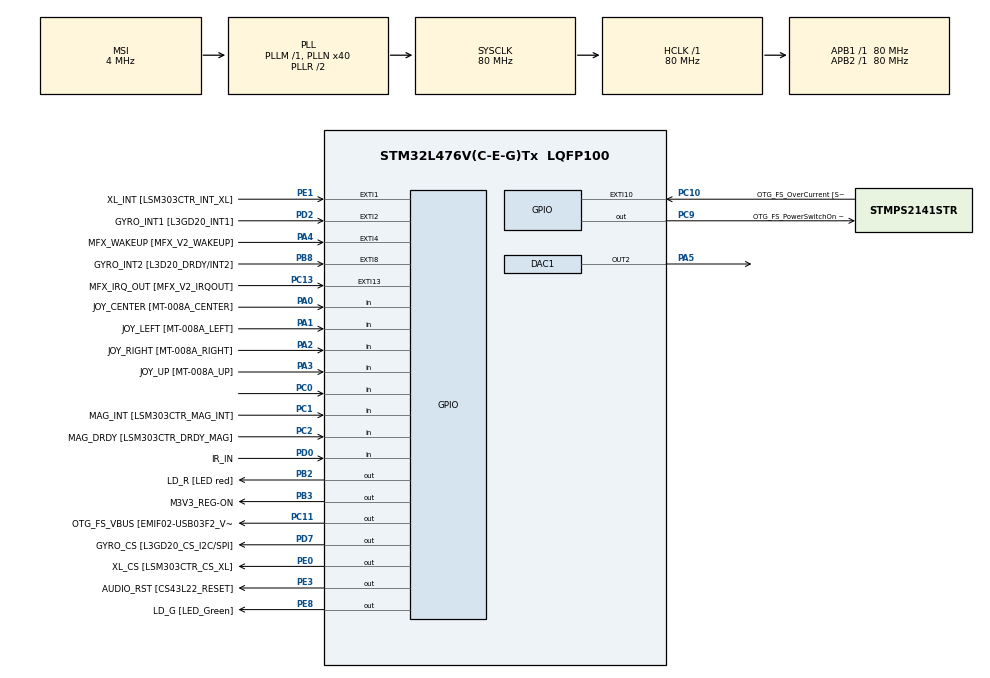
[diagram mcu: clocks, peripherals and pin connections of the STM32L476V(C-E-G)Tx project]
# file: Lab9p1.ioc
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DAC1.DAC_Channel-DAC_OUT2=DAC_CHANNEL_2
Mcu.Family=STM32L4
Mcu.Name=STM32L476V(C-E-G)Tx
Mcu.Package=LQFP100
NVIC.PriorityGroup=NVIC_PRIORITYGROUP_4
NVIC.TIM6_DAC_IRQn=true\:0\:0\:false\:false\:true\:true\:true\:true
PA0.GPIO_Label=JOY_CENTER [MT-008A_CENTER]
PA0.GPIO_Mode=GPIO_MODE_INPUT
PA0.GPIO_PuPd=GPIO_PULLDOWN
PA0.Signal=GPIO_Input
PA1.GPIO_Label=JOY_LEFT [MT-008A_LEFT]
PA1.GPIO_Mode=GPIO_MODE_INPUT
PA1.GPIO_PuPd=GPIO_PULLDOWN
PA1.Signal=GPIO_Input
PA10.GPIO_Label=COM2 [GH08172T_COM2]
PA10.GPIO_Mode=GPIO_MODE_AF_PP
PA10.GPIO_PuPd=GPIO_NOPULL
PA10.GPIO_Speed=GPIO_SPEED_FREQ_LOW
PA10.Signal=LCD_COM2
PA11.GPIO_Label=OTG_FS_DM [EMIF02-USB03F2_D-out]
PA11.GPIO_Mode=GPIO_MODE_AF_PP
PA11.GPIO_PuPd=GPIO_NOPULL
PA11.GPIO_Speed=GPIO_SPEED_FREQ_VERY_HIGH
PA11.Signal=USB_OTG_FS_DM
PA12.GPIO_Label=OTG_FS_DP [EMIF02-USB03F2_D+out]
PA12.GPIO_Mode=GPIO_MODE_AF_PP
PA12.GPIO_PuPd=GPIO_NOPULL
PA12.GPIO_Speed=GPIO_SPEED_FREQ_VERY_HIGH
PA12.Signal=USB_OTG_FS_DP
PA13\ (JTMS-SWDIO).GPIO_Label=SWDIO
PA13\ (JTMS-SWDIO).Mode=Serial_Wire
PA13\ (JTMS-SWDIO).Signal=SYS_JTMS-SWDIO
PA14\ (JTCK-SWCLK).GPIO_Label=SWCLK
PA14\ (JTCK-SWCLK).Mode=Serial_Wire
PA14\ (JTCK-SWCLK).Signal=SYS_JTCK-SWCLK
PA15\ (JTDI).GPIO_Label=SEG10 [GH08172T_SEG10]
PA15\ (JTDI).GPIO_Mode=GPIO_MODE_AF_PP
PA15\ (JTDI).GPIO_PuPd=GPIO_NOPULL
PA15\ (JTDI).GPIO_Speed=GPIO_SPEED_FREQ_LOW
PA15\ (JTDI).Signal=LCD_SEG17
PA2.GPIO_Label=JOY_RIGHT [MT-008A_RIGHT]
PA2.GPIO_Mode=GPIO_MODE_INPUT
PA2.GPIO_PuPd=GPIO_PULLDOWN
PA2.Signal=GPIO_Input
PA3.GPIO_Label=JOY_UP [MT-008A_UP]
PA3.GPIO_Mode=GPIO_MODE_INPUT
PA3.GPIO_PuPd=GPIO_PULLDOWN
PA3.Signal=GPIO_Input
PA4.GPIO_Label=MFX_WAKEUP [MFX_V2_WAKEUP]
PA4.GPIO_ModeDefaultEXTI=GPIO_MODE_EVT_RISING
PA4.GPIO_PuPd=GPIO_NOPULL
PA4.Signal=GPXTI4
PA5.Signal=COMP_DAC12_group
PA6.GPIO_Label=SEG23 [GH08172T_SEG23]
PA6.GPIO_Mode=GPIO_MODE_AF_PP
PA6.GPIO_PuPd=GPIO_NOPULL
PA6.GPIO_Speed=GPIO_SPEED_FREQ_LOW
PA6.Signal=LCD_SEG3
PA7.GPIO_Label=SEG0 [GH08172T_SEG0]
PA7.GPIO_Mode=GPIO_MODE_AF_PP
PA7.GPIO_PuPd=GPIO_NOPULL
PA7.GPIO_Speed=GPIO_SPEED_FREQ_LOW
PA7.Signal=LCD_SEG4
PA8.GPIO_Label=COM0 [GH08172T_COM0]
PA8.GPIO_Mode=GPIO_MODE_AF_PP
PA8.GPIO_PuPd=GPIO_NOPULL
PA8.GPIO_Speed=GPIO_SPEED_FREQ_LOW
PA8.Signal=LCD_COM0
PA9.GPIO_Label=COM1 [GH08172T_COM1]
PA9.GPIO_Mode=GPIO_MODE_AF_PP
PA9.GPIO_PuPd=GPIO_NOPULL
PA9.GPIO_Speed=GPIO_SPEED_FREQ_LOW
PA9.Signal=LCD_COM1
PB0.GPIO_Label=SEG21 [GH08172T_SEG21]
PB0.GPIO_Mode=GPIO_MODE_AF_PP
PB0.GPIO_PuPd=GPIO_NOPULL
PB0.GPIO_Speed=GPIO_SPEED_FREQ_LOW
PB0.Signal=LCD_SEG5
PB1.GPIO_Label=SEG2 [GH08172T_SEG2]
PB1.GPIO_Mode=GPIO_MODE_AF_PP
PB1.GPIO_PuPd=GPIO_NOPULL
PB1.GPIO_Speed=GPIO_SPEED_FREQ_LOW
PB1.Signal=LCD_SEG6
PB10.GPIO_Label=MFX_I2C_SLC [MFX_V2_I2C_SCL]
PB10.GPIO_Mode=GPIO_MODE_AF_OD
PB10.GPIO_PuPdOD=GPIO_PULLUP
PB10.GPIO_Speed=GPIO_SPEED_FREQ_VERY_HIGH
PB10.Signal=I2C2_SCL
PB11.GPIO_Label=MFX_I2C_SDA [MFX_V2_I2C_SDA]
PB11.GPIO_Mode=GPIO_MODE_AF_OD
PB11.GPIO_PuPdOD=GPIO_PULLUP
PB11.GPIO_Speed=GPIO_SPEED_FREQ_VERY_HIGH
PB11.Signal=I2C2_SDA
PB12.GPIO_Label=SEG20 [GH08172T_SEG20]
PB12.GPIO_Mode=GPIO_MODE_AF_PP
PB12.GPIO_PuPd=GPIO_NOPULL
PB12.GPIO_Speed=GPIO_SPEED_FREQ_LOW
PB12.Signal=LCD_SEG12
PB13.GPIO_Label=SEG3 [GH08172T_SEG3]
PB13.GPIO_Mode=GPIO_MODE_AF_PP
PB13.GPIO_PuPd=GPIO_NOPULL
PB13.GPIO_Speed=GPIO_SPEED_FREQ_LOW
PB13.Signal=LCD_SEG13
PB14.GPIO_Label=SEG19 [GH08172T_SEG19]
PB14.GPIO_Mode=GPIO_MODE_AF_PP
PB14.GPIO_PuPd=GPIO_NOPULL
PB14.GPIO_Speed=GPIO_SPEED_FREQ_LOW
PB14.Signal=LCD_SEG14
PB15.GPIO_Label=SEG4 [GH08172T_SEG4]
PB15.GPIO_Mode=GPIO_MODE_AF_PP
PB15.GPIO_PuPd=GPIO_NOPULL
PB15.GPIO_Speed=GPIO_SPEED_FREQ_LOW
PB15.Signal=LCD_SEG15
PB2.GPIO_Label=LD_R [LED red]
PB2.GPIO_ModeDefaultOutputPP=GPIO_MODE_OUTPUT_PP
PB2.GPIO_PuPd=GPIO_PULLUP
PB2.GPIO_Speed=GPIO_SPEED_FREQ_VERY_HIGH
PB2.Signal=GPIO_Output
PB3\ (JTDO-TRACESWO).GPIO_Label=M3V3_REG-ON
PB3\ (JTDO-TRACESWO).GPIO_ModeDefaultOutputPP=GPIO_MODE_OUTPUT_PP
PB3\ (JTDO-TRACESWO).GPIO_PuPd=GPIO_NOPULL
PB3\ (JTDO-TRACESWO).GPIO_Speed=GPIO_SPEED_FREQ_LOW
PB3\ (JTDO-TRACESWO).Signal=GPIO_Output
PB4\ (NJTRST).GPIO_Label=SEG11 [GH08172T_SEG11]
PB4\ (NJTRST).GPIO_Mode=GPIO_MODE_AF_PP
PB4\ (NJTRST).GPIO_PuPd=GPIO_NOPULL
PB4\ (NJTRST).GPIO_Speed=GPIO_SPEED_FREQ_LOW
PB4\ (NJTRST).Signal=LCD_SEG8
PB5.GPIO_Label=SEG12 [GH08172T_SEG12]
PB5.GPIO_Mode=GPIO_MODE_AF_PP
PB5.GPIO_PuPd=GPIO_NOPULL
PB5.GPIO_Speed=GPIO_SPEED_FREQ_LOW
PB5.Signal=LCD_SEG9
PB6.GPIO_FM6=__NULL
PB6.GPIO_Label=I2C1_SCL [SSM-104-L-DH_SCL]
PB6.GPIO_Mode=GPIO_MODE_AF_OD
PB6.GPIO_PuPdOD=GPIO_PULLUP
PB6.GPIO_Speed=GPIO_SPEED_FREQ_VERY_HIGH
PB6.Signal=I2C1_SCL
PB7.GPIO_FM7=__NULL
PB7.GPIO_Label=I2C1_SDA [SSM-104-L-DH_SDA]
PB7.GPIO_Mode=GPIO_MODE_AF_OD
PB7.GPIO_PuPdOD=GPIO_PULLUP
PB7.GPIO_Speed=GPIO_SPEED_FREQ_VERY_HIGH
PB7.Signal=I2C1_SDA
PB8.GPIO_Label=GYRO_INT2 [L3D20_DRDY/INT2]
PB8.GPIO_ModeDefaultEXTI=GPIO_MODE_EVT_RISING
PB8.GPIO_PuPd=GPIO_NOPULL
PB8.Signal=GPXTI8
PB9.GPIO_FM9=__NULL
PB9.GPIO_Label=COM3 [GH08172T_COM3]
PB9.GPIO_Mode=GPIO_MODE_AF_PP
PB9.GPIO_PuPd=GPIO_NOPULL
PB9.GPIO_Speed=GPIO_SPEED_FREQ_LOW
PB9.Signal=LCD_COM3
PC0.Signal=GPIO_Input
PC1.GPIO_Label=MAG_INT [LSM303CTR_MAG_INT]
PC1.GPIO_Mode=GPIO_MODE_INPUT
PC1.GPIO_PuPd=GPIO_NOPULL
PC1.Signal=GPIO_Input
PC10.GPIO_Label=OTG_FS_OverCurrent [STMPS2141STR_FAULT]
PC10.GPIO_ModeDefaultEXTI=GPIO_MODE_EVT_RISING
PC10.GPIO_PuPd=GPIO_NOPULL
PC10.Signal=GPXTI10
PC11.GPIO_Label=OTG_FS_VBUS [EMIF02-USB03F2_Vbus]
PC11.GPIO_ModeDefaultOutputPP=GPIO_MODE_OUTPUT_PP
PC11.GPIO_PuPd=GPIO_NOPULL
PC11.GPIO_Speed=GPIO_SPEED_FREQ_LOW
PC11.Signal=GPIO_Output
PC13.GPIO_Label=MFX_IRQ_OUT [MFX_V2_IRQOUT]
PC13.GPIO_ModeDefaultEXTI=GPIO_MODE_EVT_RISING
PC13.GPIO_PuPd=GPIO_NOPULL
PC13.Signal=GPXTI13
PC14-OSC32_IN\ (PC14).Mode=LSE-External-Oscillator
PC14-OSC32_IN\ (PC14).Signal=RCC_OSC32_IN
PC15-OSC32_OUT\ (PC15).Mode=LSE-External-Oscillator
PC15-OSC32_OUT\ (PC15).Signal=RCC_OSC32_OUT
PC2.GPIO_Label=MAG_DRDY [LSM303CTR_DRDY_MAG]
PC2.GPIO_Mode=GPIO_MODE_INPUT
PC2.GPIO_PuPd=GPIO_NOPULL
PC2.Signal=GPIO_Input
PC3.GPIO_Label=VLCD
PC3.GPIO_Mode=GPIO_MODE_AF_PP
PC3.GPIO_PuPd=GPIO_NOPULL
PC3.GPIO_Speed=GPIO_SPEED_FREQ_LOW
PC3.Signal=LCD_VLCD
PC4.GPIO_Label=SEG22 [GH08172T_SEG22]
PC4.GPIO_Mode=GPIO_MODE_AF_PP
PC4.GPIO_PuPd=GPIO_NOPULL
PC4.GPIO_Speed=GPIO_SPEED_FREQ_LOW
PC4.Signal=LCD_SEG22
PC5.GPIO_Label=SEG1 [GH08172T_SEG1]
PC5.GPIO_Mode=GPIO_MODE_AF_PP
PC5.GPIO_PuPd=GPIO_NOPULL
PC5.GPIO_Speed=GPIO_SPEED_FREQ_LOW
PC5.Signal=LCD_SEG23
PC6.GPIO_Label=SEG14 [GH08172T_SEG14]
PC6.GPIO_Mode=GPIO_MODE_AF_PP
PC6.GPIO_PuPd=GPIO_NOPULL
PC6.GPIO_Speed=GPIO_SPEED_FREQ_LOW
PC6.Signal=LCD_SEG24
PC7.GPIO_Label=SEG9 [GH08172T_SEG9]
PC7.GPIO_Mode=GPIO_MODE_AF_PP
PC7.GPIO_PuPd=GPIO_NOPULL
PC7.GPIO_Speed=GPIO_SPEED_FREQ_LOW
PC7.Signal=LCD_SEG25
PC8.GPIO_Label=SEG13 [GH08172T_SEG13]
PC8.GPIO_Mode=GPIO_MODE_AF_PP
PC8.GPIO_PuPd=GPIO_NOPULL
PC8.GPIO_Speed=GPIO_SPEED_FREQ_LOW
PC8.Signal=LCD_SEG26
PC9.GPIO_Label=OTG_FS_PowerSwitchOn [STMPS2141STR_EN]
PC9.GPIO_ModeDefaultOutputPP=GPIO_MODE_OUTPUT_PP
PC9.GPIO_PuPd=GPIO_NOPULL
PC9.GPIO_Speed=GPIO_SPEED_FREQ_LOW
PC9.PinState=GPIO_PIN_SET
PC9.Signal=GPIO_Output
PD0.GPIO_Label=IR_IN
PD0.Signal=GPIO_Input
PD1.GPIO_Label=MEMS_SCK [L3GD20_SCL/SPC]
PD1.GPIO_Mode=GPIO_MODE_AF_PP
PD1.GPIO_PuPd=GPIO_NOPULL
PD1.GPIO_Speed=GPIO_SPEED_FREQ_VERY_HIGH
PD1.Signal=SPI2_SCK
PD10.GPIO_Label=SEG17 [GH08172T_SEG17]
PD10.GPIO_Mode=GPIO_MODE_AF_PP
PD10.GPIO_PuPd=GPIO_NOPULL
PD10.GPIO_Speed=GPIO_SPEED_FREQ_LOW
PD10.Signal=LCD_SEG30
PD11.GPIO_Label=SEG6 [GH08172T_SEG6]
PD11.GPIO_Mode=GPIO_MODE_AF_PP
PD11.GPIO_PuPd=GPIO_NOPULL
PD11.GPIO_Speed=GPIO_SPEED_FREQ_LOW
PD11.Signal=LCD_SEG31
PD12.GPIO_Label=SEG16 [GH08172T_SEG16]
PD12.GPIO_Mode=GPIO_MODE_AF_PP
PD12.GPIO_PuPd=GPIO_NOPULL
PD12.GPIO_Speed=GPIO_SPEED_FREQ_LOW
PD12.Signal=LCD_SEG32
PD13.GPIO_Label=SEG7 [GH08172T_SEG7]
PD13.GPIO_Mode=GPIO_MODE_AF_PP
PD13.GPIO_PuPd=GPIO_NOPULL
PD13.GPIO_Speed=GPIO_SPEED_FREQ_LOW
PD13.Signal=LCD_SEG33
PD14.GPIO_Label=SEG15 [GH08172T_SEG15]
PD14.GPIO_Mode=GPIO_MODE_AF_PP
PD14.GPIO_PuPd=GPIO_NOPULL
PD14.GPIO_Speed=GPIO_SPEED_FREQ_LOW
PD14.Signal=LCD_SEG34
PD15.GPIO_Label=SEG8 [GH08172T_SEG8]
PD15.GPIO_Mode=GPIO_MODE_AF_PP
PD15.GPIO_PuPd=GPIO_NOPULL
PD15.GPIO_Speed=GPIO_SPEED_FREQ_LOW
PD15.Signal=LCD_SEG35
PD2.GPIO_Label=GYRO_INT1 [L3GD20_INT1]
PD2.GPIO_ModeDefaultEXTI=GPIO_MODE_EVT_RISING
PD2.GPIO_PuPd=GPIO_NOPULL
PD2.Signal=GPXTI2
PD3.GPIO_Label=MEMS_MISO [L3GD20_SA0/SDO]
PD3.GPIO_Mode=GPIO_MODE_AF_PP
PD3.GPIO_PuPd=GPIO_NOPULL
PD3.GPIO_Speed=GPIO_SPEED_FREQ_VERY_HIGH
PD3.Signal=SPI2_MISO
PD4.GPIO_Label=MEMS_MOSI [L3GD20_SDA/SDI/SDO]
PD4.GPIO_Mode=GPIO_MODE_AF_PP
PD4.GPIO_PuPd=GPIO_NOPULL
PD4.GPIO_Speed=GPIO_SPEED_FREQ_VERY_HIGH
PD4.Signal=SPI2_MOSI
PD5.GPIO_Label=USART_TX
PD5.GPIO_Mode=GPIO_MODE_AF_PP
PD5.GPIO_PuPd=GPIO_PULLUP
PD5.GPIO_Speed=GPIO_SPEED_FREQ_VERY_HIGH
PD5.Signal=USART2_TX
PD6.GPIO_Label=USART_RX
PD6.GPIO_Mode=GPIO_MODE_AF_PP
PD6.GPIO_PuPd=GPIO_PULLUP
PD6.GPIO_Speed=GPIO_SPEED_FREQ_VERY_HIGH
PD6.Signal=USART2_RX
PD7.GPIO_Label=GYRO_CS [L3GD20_CS_I2C/SPI]
PD7.GPIO_ModeDefaultOutputPP=GPIO_MODE_OUTPUT_PP
PD7.GPIO_PuPd=GPIO_NOPULL
PD7.GPIO_Speed=GPIO_SPEED_FREQ_VERY_HIGH
PD7.Signal=GPIO_Output
PD8.GPIO_Label=SEG18 [GH08172T_SEG18]
PD8.GPIO_Mode=GPIO_MODE_AF_PP
PD8.GPIO_PuPd=GPIO_NOPULL
PD8.GPIO_Speed=GPIO_SPEED_FREQ_LOW
PD8.Signal=LCD_SEG28
PD9.GPIO_Label=SEG5 [GH08172T_SEG5]
PD9.GPIO_Mode=GPIO_MODE_AF_PP
PD9.GPIO_PuPd=GPIO_NOPULL
PD9.GPIO_Speed=GPIO_SPEED_FREQ_LOW
PD9.Signal=LCD_SEG29
PE0.GPIO_Label=XL_CS [LSM303CTR_CS_XL]
PE0.GPIO_ModeDefaultOutputPP=GPIO_MODE_OUTPUT_PP
PE0.GPIO_PuPd=GPIO_NOPULL
PE0.GPIO_Speed=GPIO_SPEED_FREQ_LOW
PE0.Signal=GPIO_Output
PE1.GPIO_Label=XL_INT [LSM303CTR_INT_XL]
PE1.GPIO_ModeDefaultEXTI=GPIO_MODE_EVT_RISING
PE1.GPIO_PuPd=GPIO_NOPULL
PE1.Signal=GPXTI1
PE10.GPIO_Label=QSPI_CLK [N25Q128A13EF840E_C]
PE10.GPIO_Mode=GPIO_MODE_AF_PP
PE10.GPIO_PuPd=GPIO_NOPULL
PE10.GPIO_Speed=GPIO_SPEED_FREQ_VERY_HIGH
PE10.Signal=QUADSPI_CLK
PE11.GPIO_Label=QSPI_CS [N25Q128A13EF840E_S\#]
PE11.GPIO_Mode=GPIO_MODE_AF_PP
PE11.GPIO_PuPd=GPIO_NOPULL
PE11.GPIO_Speed=GPIO_SPEED_FREQ_VERY_HIGH
PE11.Signal=QUADSPI_NCS
PE12.GPIO_Label=QSPI_D0 [N25Q128A13EF840E_DQ0]
PE12.GPIO_Mode=GPIO_MODE_AF_PP
PE12.GPIO_PuPd=GPIO_NOPULL
PE12.GPIO_Speed=GPIO_SPEED_FREQ_VERY_HIGH
PE12.Signal=QUADSPI_BK1_IO0
PE13.GPIO_Label=QSPI_D1 [N25Q128A13EF840E_DQ1]
PE13.GPIO_Mode=GPIO_MODE_AF_PP
PE13.GPIO_PuPd=GPIO_NOPULL
PE13.GPIO_Speed=GPIO_SPEED_FREQ_VERY_HIGH
PE13.Signal=QUADSPI_BK1_IO1
PE14.GPIO_Label=QSPI_D2 [N25Q128A13EF840E_DQ2]
PE14.GPIO_Mode=GPIO_MODE_AF_PP
PE14.GPIO_PuPd=GPIO_NOPULL
PE14.GPIO_Speed=GPIO_SPEED_FREQ_VERY_HIGH
PE14.Signal=QUADSPI_BK1_IO2
PE15.GPIO_Label=QSPI_D3 [N25Q128A13EF840E_DQ3]
PE15.GPIO_Mode=GPIO_MODE_AF_PP
PE15.GPIO_PuPd=GPIO_NOPULL
PE15.GPIO_Speed=GPIO_SPEED_FREQ_VERY_HIGH
PE15.Signal=QUADSPI_BK1_IO3
PE2.GPIO_Label=SAI1_MCK [CS43L22_MCLK]
PE2.GPIO_Mode=GPIO_MODE_AF_PP
PE2.GPIO_PuPd=GPIO_NOPULL
PE2.GPIO_Speed=GPIO_SPEED_FREQ_VERY_HIGH
PE2.Signal=SAI1_MCLK_A
PE3.GPIO_Label=AUDIO_RST [CS43L22_RESET]
PE3.GPIO_ModeDefaultOutputPP=GPIO_MODE_OUTPUT_PP
PE3.GPIO_PuPd=GPIO_NOPULL
PE3.GPIO_Speed=GPIO_SPEED_FREQ_HIGH
PE3.Signal=GPIO_Output
PE4.GPIO_Label=SAI1_FS [CS43L22_LRCK]
PE4.GPIO_Mode=GPIO_MODE_AF_PP
PE4.GPIO_PuPd=GPIO_NOPULL
PE4.GPIO_Speed=GPIO_SPEED_FREQ_VERY_HIGH
PE4.Signal=SAI1_FS_A
PE5.GPIO_Label=SAI1_SCK [CS43L22_SCLK]
PE5.GPIO_Mode=GPIO_MODE_AF_PP
PE5.GPIO_PuPd=GPIO_NOPULL
PE5.GPIO_Speed=GPIO_SPEED_FREQ_VERY_HIGH
PE5.Signal=SAI1_SCK_A
PE6.GPIO_Label=SAI1_SD [CS43L22_SDIN]
PE6.GPIO_Mode=GPIO_MODE_AF_PP
PE6.GPIO_PuPd=GPIO_NOPULL
PE6.GPIO_Speed=GPIO_SPEED_FREQ_VERY_HIGH
PE6.Signal=SAI1_SD_A
PE7.GPIO_Label=AUDIO_DIN [MP34DT01_DOUT]
PE7.GPIO_Mode=GPIO_MODE_AF_PP
PE7.GPIO_PuPd=GPIO_NOPULL
PE7.GPIO_Speed=GPIO_SPEED_FREQ_VERY_HIGH
PE7.Signal=SAI1_SD_B
PE8.GPIO_Label=LD_G [LED_Green]
PE8.GPIO_ModeDefaultOutputPP=GPIO_MODE_OUTPUT_PP
PE8.GPIO_PuPd=GPIO_PULLUP
PE8.GPIO_Speed=GPIO_SPEED_FREQ_VERY_HIGH
PE8.Signal=GPIO_Output
PE9.GPIO_Label=AUDIO_CLK [MP34DT01_CLK]
PE9.GPIO_Mode=GPIO_MODE_AF_PP
PE9.GPIO_PuPd=GPIO_NOPULL
PE9.GPIO_Speed=GPIO_SPEED_FREQ_LOW
PE9.Signal=SAI1_FS_B
PH0-OSC_IN\ (PH0).Mode=HSE-External-Oscillator
PH0-OSC_IN\ (PH0).Signal=RCC_OSC_IN
PH1-OSC_OUT\ (PH1).Mode=HSE-External-Oscillator
PH1-OSC_OUT\ (PH1).Signal=RCC_OSC_OUT
ProjectManager.HeapSize=0x400
ProjectManager.StackSize=0x800
ProjectManager.TargetToolchain=MDK-ARM V5.27
RCC.ADCFreq_Value=48000000
RCC.AHBFreq_Value=80000000
RCC.APB1Freq_Value=80000000
RCC.APB1TimFreq_Value=80000000
RCC.APB2Freq_Value=80000000
RCC.APB2TimFreq_Value=80000000
RCC.CortexFreq_Value=80000000
RCC.HCLKFreq_Value=80000000
RCC.HSE_VALUE=8000000
RCC.HSI_VALUE=16000000
RCC.MSI_VALUE=4000000
RCC.PLLN=40
RCC.PLLSAI1N=24
RCC.PREFETCH_ENABLE=1
RCC.SYSCLKFreq_VALUE=80000000
RCC.SYSCLKSource=RCC_SYSCLKSOURCE_PLLCLK
RCC.USBFreq_Value=48000000
RCC.VCOOutputFreq_Value=160000000
SH.COMP_DAC12_group.0=DAC1_OUT2,DAC_OUT2
TIM6.Period=999
TIM6.Prescaler=4
TIM6.TIM_MasterOutputTrigger=TIM_TRGO_UPDATE
VP_TIM6_VS_ClockSourceINT.Mode=Enable_Timer
board=STM32L476G-DISCO

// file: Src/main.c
/* USER CODE BEGIN Header */
/**
  ******************************************************************************
  * @file           : main.c
  * @brief          : Main program body
  ******************************************************************************
  * @attention
  *
  * <h2><center>&copy; Copyright (c) 2020 STMicroelectronics.
  * All rights reserved.</center></h2>
  *
  * This software component is licensed by ST under Ultimate Liberty license
  * SLA0044, the "License"; You may not use this file except in compliance with
  * the License. You may obtain a copy of the License at:
  *                             www.st.com/SLA0044
  *
  ******************************************************************************
  */
/* USER CODE END Header */
#include "main.h"

/* USER CODE BEGIN Includes */
#include <stdbool.h>
#include "song16.h"
#include <math.h>

/* USER CODE END Includes */

DAC_HandleTypeDef hdac1;

TIM_HandleTypeDef htim6;

/* USER CODE BEGIN PV */

int16_t audiobuffer[ABUF_SIZE]; 	/* File read buffer for audio */

volatile uint8_t volume = DFLT_VOLUME;		// Volume range is 0 to 255

;

/* USER CODE END PV */

void SystemClock_Config(void);
static void MX_GPIO_Init(void);
static void MX_DAC1_Init(void);
static void MX_TIM6_Init(void);

/* USER CODE BEGIN 0 */

void write_DAC1Ch2(int16_t dacval, uint8_t volume) {
	int tempval;
	tempval = (((int) dacval * (int) volume) + 8388608) >> 12;
	hdac1.Instance->DHR12R2 = tempval;
}

/* Generate 400Hz Sine Wave as 16-bit values in audiobuffer[0] at 16KHz sample rate */
/* 16,000 samples is 1 second so 40 samples is 1 sine wave */
void fillBufferSine(int16_t * buffer) {
	double phase;
	for (int i=0; i<ABUF_SIZE; i++) {
    phase = (double)(i % 40)/40.0 * 2.0 * 3.1415926;
		buffer[i] = (int16_t)(sin(phase) * 32767);
	}
}

/* USER CODE END 0 */

int main(void)
{

  /* MCU Configuration--------------------------------------------------------*/

  /* Reset of all peripherals, Initializes the Flash interface and the Systick. */
  HAL_Init();

  /* Configure the system clock */
  SystemClock_Config();

  /* Initialize all configured peripherals */
  MX_GPIO_Init();
  MX_DAC1_Init();
  MX_TIM6_Init();
  /* USER CODE BEGIN 2 */

	/* initialize data structures */

	fillBufferSine(audiobuffer);

	/* start devices */

  HAL_DAC_Start(&hdac1, DAC1_CHANNEL_2);
	HAL_TIM_Base_Start_IT(&htim6);			/* Start Timer 6 at 16KHz to run DAC */

  /* USER CODE END 2 */

  /* Infinite loop */
  while (1)
  {

		}
}

void SystemClock_Config(void)
{
  RCC_OscInitTypeDef RCC_OscInitStruct = {0};
  RCC_ClkInitTypeDef RCC_ClkInitStruct = {0};

  /** Configure the main internal regulator output voltage
  */
  if (HAL_PWREx_ControlVoltageScaling(PWR_REGULATOR_VOLTAGE_SCALE1) != HAL_OK)
  {
    Error_Handler();
  }

  /** Configure LSE Drive Capability
  */
  HAL_PWR_EnableBkUpAccess();
  __HAL_RCC_LSEDRIVE_CONFIG(RCC_LSEDRIVE_LOW);

  /** Initializes the RCC Oscillators according to the specified parameters
  * in the RCC_OscInitTypeDef structure.
  */
  RCC_OscInitStruct.OscillatorType = RCC_OSCILLATORTYPE_LSE|RCC_OSCILLATORTYPE_MSI;
  RCC_OscInitStruct.LSEState = RCC_LSE_ON;
  RCC_OscInitStruct.MSIState = RCC_MSI_ON;
  RCC_OscInitStruct.MSICalibrationValue = 0;
  RCC_OscInitStruct.MSIClockRange = RCC_MSIRANGE_6;
  RCC_OscInitStruct.PLL.PLLState = RCC_PLL_ON;
  RCC_OscInitStruct.PLL.PLLSource = RCC_PLLSOURCE_MSI;
  RCC_OscInitStruct.PLL.PLLM = 1;
  RCC_OscInitStruct.PLL.PLLN = 40;
  RCC_OscInitStruct.PLL.PLLP = RCC_PLLP_DIV7;
  RCC_OscInitStruct.PLL.PLLQ = RCC_PLLQ_DIV2;
  RCC_OscInitStruct.PLL.PLLR = RCC_PLLR_DIV2;
  if (HAL_RCC_OscConfig(&RCC_OscInitStruct) != HAL_OK)
  {
    Error_Handler();
  }

  /** Initializes the CPU, AHB and APB buses clocks
  */
  RCC_ClkInitStruct.ClockType = RCC_CLOCKTYPE_HCLK|RCC_CLOCKTYPE_SYSCLK
                              |RCC_CLOCKTYPE_PCLK1|RCC_CLOCKTYPE_PCLK2;
  RCC_ClkInitStruct.SYSCLKSource = RCC_SYSCLKSOURCE_PLLCLK;
  RCC_ClkInitStruct.AHBCLKDivider = RCC_SYSCLK_DIV1;
  RCC_ClkInitStruct.APB1CLKDivider = RCC_HCLK_DIV1;
  RCC_ClkInitStruct.APB2CLKDivider = RCC_HCLK_DIV1;

  if (HAL_RCC_ClockConfig(&RCC_ClkInitStruct, FLASH_LATENCY_4) != HAL_OK)
  {
    Error_Handler();
  }

  /** Enable MSI Auto calibration
  */
  HAL_RCCEx_EnableMSIPLLMode();
}

static void MX_DAC1_Init(void)
{

  DAC_ChannelConfTypeDef sConfig = {0};

  /** DAC Initialization
  */
  hdac1.Instance = DAC1;
  if (HAL_DAC_Init(&hdac1) != HAL_OK)
  {
    Error_Handler();
  }

  /** DAC channel OUT2 config
  */
  sConfig.DAC_SampleAndHold = DAC_SAMPLEANDHOLD_DISABLE;
  sConfig.DAC_Trigger = DAC_TRIGGER_NONE;
  sConfig.DAC_OutputBuffer = DAC_OUTPUTBUFFER_ENABLE;
  sConfig.DAC_ConnectOnChipPeripheral = DAC_CHIPCONNECT_DISABLE;
  sConfig.DAC_UserTrimming = DAC_TRIMMING_FACTORY;
  if (HAL_DAC_ConfigChannel(&hdac1, &sConfig, DAC_CHANNEL_2) != HAL_OK)
  {
    Error_Handler();
  }

}

static void MX_TIM6_Init(void)
{

  TIM_MasterConfigTypeDef sMasterConfig = {0};

  htim6.Instance = TIM6;
  htim6.Init.Prescaler = 4;
  htim6.Init.CounterMode = TIM_COUNTERMODE_UP;
  htim6.Init.Period = 999;
  htim6.Init.AutoReloadPreload = TIM_AUTORELOAD_PRELOAD_DISABLE;
  if (HAL_TIM_Base_Init(&htim6) != HAL_OK)
  {
    Error_Handler();
  }
  sMasterConfig.MasterOutputTrigger = TIM_TRGO_UPDATE;
  sMasterConfig.MasterSlaveMode = TIM_MASTERSLAVEMODE_DISABLE;
  if (HAL_TIMEx_MasterConfigSynchronization(&htim6, &sMasterConfig) != HAL_OK)
  {
    Error_Handler();
  }

}

static void MX_GPIO_Init(void)
{
  GPIO_InitTypeDef GPIO_InitStruct = {0};

  /* GPIO Ports Clock Enable */
  __HAL_RCC_GPIOE_CLK_ENABLE();
  __HAL_RCC_GPIOC_CLK_ENABLE();
  __HAL_RCC_GPIOH_CLK_ENABLE();
  __HAL_RCC_GPIOA_CLK_ENABLE();
  __HAL_RCC_GPIOB_CLK_ENABLE();
  __HAL_RCC_GPIOD_CLK_ENABLE();

  /*Configure GPIO pin Output Level */
  HAL_GPIO_WritePin(GPIOE, AUDIO_RST_Pin|LD_G_Pin|XL_CS_Pin, GPIO_PIN_RESET);

  /*Configure GPIO pin Output Level */
  HAL_GPIO_WritePin(GPIOB, LD_R_Pin|M3V3_REG_ON_Pin, GPIO_PIN_RESET);

  /*Configure GPIO pin Output Level */
  HAL_GPIO_WritePin(OTG_FS_PowerSwitchOn_GPIO_Port, OTG_FS_PowerSwitchOn_Pin, GPIO_PIN_SET);

  /*Configure GPIO pin Output Level */
  HAL_GPIO_WritePin(OTG_FS_VBUS_GPIO_Port, OTG_FS_VBUS_Pin, GPIO_PIN_RESET);

  /*Configure GPIO pin Output Level */
  HAL_GPIO_WritePin(GYRO_CS_GPIO_Port, GYRO_CS_Pin, GPIO_PIN_RESET);

  /*Configure GPIO pins : SAI1_MCK_Pin SAI1_FS_Pin SAI1_SCK_Pin SAI1_SD_Pin
                           AUDIO_DIN_Pin */
  GPIO_InitStruct.Pin = SAI1_MCK_Pin|SAI1_FS_Pin|SAI1_SCK_Pin|SAI1_SD_Pin
                          |AUDIO_DIN_Pin;
  GPIO_InitStruct.Mode = GPIO_MODE_AF_PP;
  GPIO_InitStruct.Pull = GPIO_NOPULL;
  GPIO_InitStruct.Speed = GPIO_SPEED_FREQ_VERY_HIGH;
  GPIO_InitStruct.Alternate = GPIO_AF13_SAI1;
  HAL_GPIO_Init(GPIOE, &GPIO_InitStruct);

  /*Configure GPIO pin : AUDIO_RST_Pin */
  GPIO_InitStruct.Pin = AUDIO_RST_Pin;
  GPIO_InitStruct.Mode = GPIO_MODE_OUTPUT_PP;
  GPIO_InitStruct.Pull = GPIO_NOPULL;
  GPIO_InitStruct.Speed = GPIO_SPEED_FREQ_HIGH;
  HAL_GPIO_Init(AUDIO_RST_GPIO_Port, &GPIO_InitStruct);

  /*Configure GPIO pins : MFX_IRQ_OUT_Pin OTG_FS_OverCurrent_Pin */
  GPIO_InitStruct.Pin = MFX_IRQ_OUT_Pin|OTG_FS_OverCurrent_Pin;
  GPIO_InitStruct.Mode = GPIO_MODE_EVT_RISING;
  GPIO_InitStruct.Pull = GPIO_NOPULL;
  HAL_GPIO_Init(GPIOC, &GPIO_InitStruct);

  /*Configure GPIO pins : PC0 MAG_INT_Pin MAG_DRDY_Pin */
  GPIO_InitStruct.Pin = GPIO_PIN_0|MAG_INT_Pin|MAG_DRDY_Pin;
  GPIO_InitStruct.Mode = GPIO_MODE_INPUT;
  GPIO_InitStruct.Pull = GPIO_NOPULL;
  HAL_GPIO_Init(GPIOC, &GPIO_InitStruct);

  /*Configure GPIO pins : VLCD_Pin SEG22_Pin SEG1_Pin SEG14_Pin
                           SEG9_Pin SEG13_Pin */
  GPIO_InitStruct.Pin = VLCD_Pin|SEG22_Pin|SEG1_Pin|SEG14_Pin
                          |SEG9_Pin|SEG13_Pin;
  GPIO_InitStruct.Mode = GPIO_MODE_AF_PP;
  GPIO_InitStruct.Pull = GPIO_NOPULL;
  GPIO_InitStruct.Speed = GPIO_SPEED_FREQ_LOW;
  GPIO_InitStruct.Alternate = GPIO_AF11_LCD;
  HAL_GPIO_Init(GPIOC, &GPIO_InitStruct);

  /*Configure GPIO pins : JOY_CENTER_Pin JOY_LEFT_Pin JOY_RIGHT_Pin JOY_UP_Pin */
  GPIO_InitStruct.Pin = JOY_CENTER_Pin|JOY_LEFT_Pin|JOY_RIGHT_Pin|JOY_UP_Pin;
  GPIO_InitStruct.Mode = GPIO_MODE_INPUT;
  GPIO_InitStruct.Pull = GPIO_PULLDOWN;
  HAL_GPIO_Init(GPIOA, &GPIO_InitStruct);

  /*Configure GPIO pin : MFX_WAKEUP_Pin */
  GPIO_InitStruct.Pin = MFX_WAKEUP_Pin;
  GPIO_InitStruct.Mode = GPIO_MODE_EVT_RISING;
  GPIO_InitStruct.Pull = GPIO_NOPULL;
  HAL_GPIO_Init(MFX_WAKEUP_GPIO_Port, &GPIO_InitStruct);

  /*Configure GPIO pins : SEG23_Pin SEG0_Pin COM0_Pin COM1_Pin
                           COM2_Pin SEG10_Pin */
  GPIO_InitStruct.Pin = SEG23_Pin|SEG0_Pin|COM0_Pin|COM1_Pin
                          |COM2_Pin|SEG10_Pin;
  GPIO_InitStruct.Mode = GPIO_MODE_AF_PP;
  GPIO_InitStruct.Pull = GPIO_NOPULL;
  GPIO_InitStruct.Speed = GPIO_SPEED_FREQ_LOW;
  GPIO_InitStruct.Alternate = GPIO_AF11_LCD;
  HAL_GPIO_Init(GPIOA, &GPIO_InitStruct);

  /*Configure GPIO pins : SEG21_Pin SEG2_Pin SEG20_Pin SEG3_Pin
                           SEG19_Pin SEG4_Pin SEG11_Pin SEG12_Pin
                           COM3_Pin */
  GPIO_InitStruct.Pin = SEG21_Pin|SEG2_Pin|SEG20_Pin|SEG3_Pin
                          |SEG19_Pin|SEG4_Pin|SEG11_Pin|SEG12_Pin
                          |COM3_Pin;
  GPIO_InitStruct.Mode = GPIO_MODE_AF_PP;
  GPIO_InitStruct.Pull = GPIO_NOPULL;
  GPIO_InitStruct.Speed = GPIO_SPEED_FREQ_LOW;
  GPIO_InitStruct.Alternate = GPIO_AF11_LCD;
  HAL_GPIO_Init(GPIOB, &GPIO_InitStruct);

  /*Configure GPIO pin : LD_R_Pin */
  GPIO_InitStruct.Pin = LD_R_Pin;
  GPIO_InitStruct.Mode = GPIO_MODE_OUTPUT_PP;
  GPIO_InitStruct.Pull = GPIO_PULLUP;
  GPIO_InitStruct.Speed = GPIO_SPEED_FREQ_VERY_HIGH;
  HAL_GPIO_Init(LD_R_GPIO_Port, &GPIO_InitStruct);

  /*Configure GPIO pin : LD_G_Pin */
  GPIO_InitStruct.Pin = LD_G_Pin;
  GPIO_InitStruct.Mode = GPIO_MODE_OUTPUT_PP;
  GPIO_InitStruct.Pull = GPIO_PULLUP;
  GPIO_InitStruct.Speed = GPIO_SPEED_FREQ_VERY_HIGH;
  HAL_GPIO_Init(LD_G_GPIO_Port, &GPIO_InitStruct);

  /*Configure GPIO pin : AUDIO_CLK_Pin */
  GPIO_InitStruct.Pin = AUDIO_CLK_Pin;
  GPIO_InitStruct.Mode = GPIO_MODE_AF_PP;
  GPIO_InitStruct.Pull = GPIO_NOPULL;
  GPIO_InitStruct.Speed = GPIO_SPEED_FREQ_LOW;
  GPIO_InitStruct.Alternate = GPIO_AF13_SAI1;
  HAL_GPIO_Init(AUDIO_CLK_GPIO_Port, &GPIO_InitStruct);

  /*Configure GPIO pins : QSPI_CLK_Pin QSPI_CS_Pin QSPI_D0_Pin QSPI_D1_Pin
                           QSPI_D2_Pin QSPI_D3_Pin */
  GPIO_InitStruct.Pin = QSPI_CLK_Pin|QSPI_CS_Pin|QSPI_D0_Pin|QSPI_D1_Pin
                          |QSPI_D2_Pin|QSPI_D3_Pin;
  GPIO_InitStruct.Mode = GPIO_MODE_AF_PP;
  GPIO_InitStruct.Pull = GPIO_NOPULL;
  GPIO_InitStruct.Speed = GPIO_SPEED_FREQ_VERY_HIGH;
  GPIO_InitStruct.Alternate = GPIO_AF10_QUADSPI;
  HAL_GPIO_Init(GPIOE, &GPIO_InitStruct);

  /*Configure GPIO pins : MFX_I2C_SLC_Pin MFX_I2C_SDA_Pin */
  GPIO_InitStruct.Pin = MFX_I2C_SLC_Pin|MFX_I2C_SDA_Pin;
  GPIO_InitStruct.Mode = GPIO_MODE_AF_OD;
  GPIO_InitStruct.Pull = GPIO_NOPULL;
  GPIO_InitStruct.Speed = GPIO_SPEED_FREQ_VERY_HIGH;
  GPIO_InitStruct.Alternate = GPIO_AF4_I2C2;
  HAL_GPIO_Init(GPIOB, &GPIO_InitStruct);

  /*Configure GPIO pins : SEG18_Pin SEG5_Pin SEG17_Pin SEG6_Pin
                           SEG16_Pin SEG7_Pin SEG15_Pin SEG8_Pin */
  GPIO_InitStruct.Pin = SEG18_Pin|SEG5_Pin|SEG17_Pin|SEG6_Pin
                          |SEG16_Pin|SEG7_Pin|SEG15_Pin|SEG8_Pin;
  GPIO_InitStruct.Mode = GPIO_MODE_AF_PP;
  GPIO_InitStruct.Pull = GPIO_NOPULL;
  GPIO_InitStruct.Speed = GPIO_SPEED_FREQ_LOW;
  GPIO_InitStruct.Alternate = GPIO_AF11_LCD;
  HAL_GPIO_Init(GPIOD, &GPIO_InitStruct);

  /*Configure GPIO pins : OTG_FS_PowerSwitchOn_Pin OTG_FS_VBUS_Pin */
  GPIO_InitStruct.Pin = OTG_FS_PowerSwitchOn_Pin|OTG_FS_VBUS_Pin;
  GPIO_InitStruct.Mode = GPIO_MODE_OUTPUT_PP;
  GPIO_InitStruct.Pull = GPIO_NOPULL;
  GPIO_InitStruct.Speed = GPIO_SPEED_FREQ_LOW;
  HAL_GPIO_Init(GPIOC, &GPIO_InitStruct);

  /*Configure GPIO pins : OTG_FS_DM_Pin OTG_FS_DP_Pin */
  GPIO_InitStruct.Pin = OTG_FS_DM_Pin|OTG_FS_DP_Pin;
  GPIO_InitStruct.Mode = GPIO_MODE_AF_PP;
  GPIO_InitStruct.Pull = GPIO_NOPULL;
  GPIO_InitStruct.Speed = GPIO_SPEED_FREQ_VERY_HIGH;
  GPIO_InitStruct.Alternate = GPIO_AF10_OTG_FS;
  HAL_GPIO_Init(GPIOA, &GPIO_InitStruct);

  /*Configure GPIO pin : IR_IN_Pin */
  GPIO_InitStruct.Pin = IR_IN_Pin;
  GPIO_InitStruct.Mode = GPIO_MODE_INPUT;
  GPIO_InitStruct.Pull = GPIO_NOPULL;
  HAL_GPIO_Init(IR_IN_GPIO_Port, &GPIO_InitStruct);

  /*Configure GPIO pins : MEMS_SCK_Pin MEMS_MISO_Pin MEMS_MOSI_Pin */
  GPIO_InitStruct.Pin = MEMS_SCK_Pin|MEMS_MISO_Pin|MEMS_MOSI_Pin;
  GPIO_InitStruct.Mode = GPIO_MODE_AF_PP;
  GPIO_InitStruct.Pull = GPIO_NOPULL;
  GPIO_InitStruct.Speed = GPIO_SPEED_FREQ_VERY_HIGH;
  GPIO_InitStruct.Alternate = GPIO_AF5_SPI2;
  HAL_GPIO_Init(GPIOD, &GPIO_InitStruct);

  /*Configure GPIO pin : GYRO_INT1_Pin */
  GPIO_InitStruct.Pin = GYRO_INT1_Pin;
  GPIO_InitStruct.Mode = GPIO_MODE_EVT_RISING;
  GPIO_InitStruct.Pull = GPIO_NOPULL;
  HAL_GPIO_Init(GYRO_INT1_GPIO_Port, &GPIO_InitStruct);

  /*Configure GPIO pins : USART_TX_Pin USART_RX_Pin */
  GPIO_InitStruct.Pin = USART_TX_Pin|USART_RX_Pin;
  GPIO_InitStruct.Mode = GPIO_MODE_AF_PP;
  GPIO_InitStruct.Pull = GPIO_PULLUP;
  GPIO_InitStruct.Speed = GPIO_SPEED_FREQ_VERY_HIGH;
  GPIO_InitStruct.Alternate = GPIO_AF7_USART2;
  HAL_GPIO_Init(GPIOD, &GPIO_InitStruct);

  /*Configure GPIO pin : GYRO_CS_Pin */
  GPIO_InitStruct.Pin = GYRO_CS_Pin;
  GPIO_InitStruct.Mode = GPIO_MODE_OUTPUT_PP;
  GPIO_InitStruct.Pull = GPIO_NOPULL;
  GPIO_InitStruct.Speed = GPIO_SPEED_FREQ_VERY_HIGH;
  HAL_GPIO_Init(GYRO_CS_GPIO_Port, &GPIO_InitStruct);

  /*Configure GPIO pin : M3V3_REG_ON_Pin */
  GPIO_InitStruct.Pin = M3V3_REG_ON_Pin;
  GPIO_InitStruct.Mode = GPIO_MODE_OUTPUT_PP;
  GPIO_InitStruct.Pull = GPIO_NOPULL;
  GPIO_InitStruct.Speed = GPIO_SPEED_FREQ_LOW;
  HAL_GPIO_Init(M3V3_REG_ON_GPIO_Port, &GPIO_InitStruct);

  /*Configure GPIO pins : I2C1_SCL_Pin I2C1_SDA_Pin */
  GPIO_InitStruct.Pin = I2C1_SCL_Pin|I2C1_SDA_Pin;
  GPIO_InitStruct.Mode = GPIO_MODE_AF_OD;
  GPIO_InitStruct.Pull = GPIO_NOPULL;
  GPIO_InitStruct.Speed = GPIO_SPEED_FREQ_VERY_HIGH;
  GPIO_InitStruct.Alternate = GPIO_AF4_I2C1;
  HAL_GPIO_Init(GPIOB, &GPIO_InitStruct);

  /*Configure GPIO pin : GYRO_INT2_Pin */
  GPIO_InitStruct.Pin = GYRO_INT2_Pin;
  GPIO_InitStruct.Mode = GPIO_MODE_EVT_RISING;
  GPIO_InitStruct.Pull = GPIO_NOPULL;
  HAL_GPIO_Init(GYRO_INT2_GPIO_Port, &GPIO_InitStruct);

  /*Configure GPIO pin : XL_CS_Pin */
  GPIO_InitStruct.Pin = XL_CS_Pin;
  GPIO_InitStruct.Mode = GPIO_MODE_OUTPUT_PP;
  GPIO_InitStruct.Pull = GPIO_NOPULL;
  GPIO_InitStruct.Speed = GPIO_SPEED_FREQ_LOW;
  HAL_GPIO_Init(XL_CS_GPIO_Port, &GPIO_InitStruct);

  /*Configure GPIO pin : XL_INT_Pin */
  GPIO_InitStruct.Pin = XL_INT_Pin;
  GPIO_InitStruct.Mode = GPIO_MODE_EVT_RISING;
  GPIO_InitStruct.Pull = GPIO_NOPULL;
  HAL_GPIO_Init(XL_INT_GPIO_Port, &GPIO_InitStruct);

}

void Error_Handler(void)
{
}
